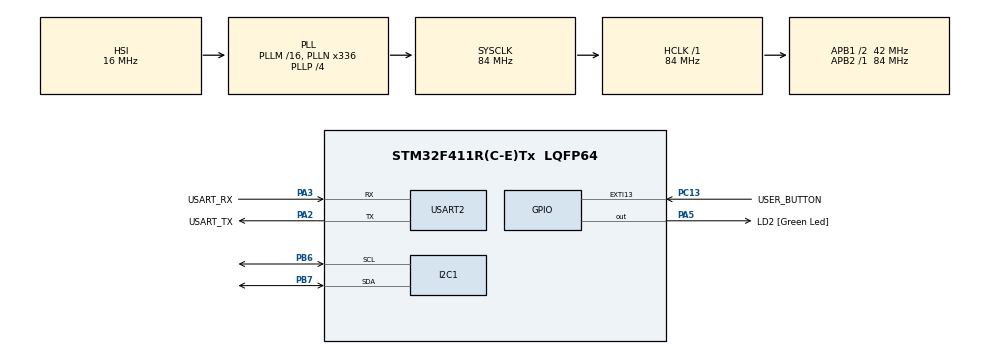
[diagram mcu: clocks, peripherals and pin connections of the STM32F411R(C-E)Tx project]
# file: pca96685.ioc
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I2C1.I2C_Mode=I2C_Fast
Mcu.Family=STM32F4
Mcu.Name=STM32F411R(C-E)Tx
Mcu.Package=LQFP64
NVIC.PriorityGroup=NVIC_PRIORITYGROUP_0
NVIC.TIM2_IRQn=true\:0\:0\:false\:false\:true\:true\:true\:true
PA13.GPIO_Label=TMS
PA13.Mode=Serial_Wire
PA13.Signal=SYS_JTMS-SWDIO
PA14.GPIO_Label=TCK
PA14.Mode=Serial_Wire
PA14.Signal=SYS_JTCK-SWCLK
PA2.GPIO_Label=USART_TX
PA2.Mode=Asynchronous
PA2.Signal=USART2_TX
PA3.GPIO_Label=USART_RX
PA3.Mode=Asynchronous
PA3.Signal=USART2_RX
PA5.GPIO_Label=LD2 [Green Led]
PA5.Signal=GPIO_Output
PB3.GPIO_Label=SWO
PB3.Signal=SYS_JTDO-SWO
PB6.Mode=I2C
PB6.Signal=I2C1_SCL
PB7.Mode=I2C
PB7.Signal=I2C1_SDA
PC13-ANTI_TAMP.GPIO_Label=USER_BUTTON
PC13-ANTI_TAMP.GPIO_ModeDefaultEXTI=GPIO_MODE_IT_FALLING
PC13-ANTI_TAMP.Signal=GPXTI13
PC14-OSC32_IN.Mode=LSE-External-Oscillator
PC14-OSC32_IN.Signal=RCC_OSC32_IN
PC15-OSC32_OUT.Mode=LSE-External-Oscillator
PC15-OSC32_OUT.Signal=RCC_OSC32_OUT
PH0\ -\ OSC_IN.Mode=HSE-External-Clock-Source
PH0\ -\ OSC_IN.Signal=RCC_OSC_IN
PH1\ -\ OSC_OUT.Mode=HSE-External-Clock-Source
PH1\ -\ OSC_OUT.Signal=RCC_OSC_OUT
ProjectManager.HeapSize=0x200
ProjectManager.StackSize=0x400
ProjectManager.TargetToolchain=STM32CubeIDE
RCC.48MHZClocksFreq_Value=84000000
RCC.AHBFreq_Value=84000000
RCC.APB1CLKDivider=RCC_HCLK_DIV2
RCC.APB1Freq_Value=42000000
RCC.APB1TimFreq_Value=84000000
RCC.APB2Freq_Value=84000000
RCC.APB2TimFreq_Value=84000000
RCC.CortexFreq_Value=84000000
RCC.FLatency-AdvancedSettings=FLASH_LATENCY_2
RCC.HCLKFreq_Value=84000000
RCC.HSE_VALUE=8000000
RCC.HSI_VALUE=16000000
RCC.PLLN=336
RCC.PLLP=RCC_PLLP_DIV4
RCC.SYSCLKFreq_VALUE=84000000
RCC.SYSCLKSource=RCC_SYSCLKSOURCE_PLLCLK
RCC.VCOOutputFreq_Value=336000000
TIM2.Period=999
TIM2.Prescaler=8399
USART2.VirtualMode=VM_ASYNC
VP_TIM2_VS_ClockSourceINT.Mode=Internal
board=NUCLEO-F411RE

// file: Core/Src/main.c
/* USER CODE BEGIN Header */
/**
  ******************************************************************************
  * @file           : main.c
  * @brief          : Main program body
  ******************************************************************************
  * @attention
  *
  * Copyright (c) 2024 STMicroelectronics.
  * All rights reserved.
  *
  * This software is licensed under terms that can be found in the LICENSE file
  * in the root directory of this software component.
  * If no LICENSE file comes with this software, it is provided AS-IS.
  *
  ******************************************************************************
  */
/* USER CODE END Header */
#include "main.h"

/* USER CODE BEGIN PD */
#define DEFAULT_ANGLE 90
/* USER CODE END PD */

I2C_HandleTypeDef hi2c1;

TIM_HandleTypeDef htim2;

UART_HandleTypeDef huart2;

/* USER CODE BEGIN PV */

uint8_t angle;
uint8_t angle_def;
uint8_t mode = 0;
uint32_t last_button_press = 0; // Zmienna przechowująca czas ostatniego naciśnięcia przycisku
uint8_t flag = 1; // flaga do jednorazowego odpalenia mode==2, bo nie chcialo mi sie do timera juz tego wkladac tylko do petli while dalem funkcje "czlapania"

/* USER CODE END PV */

void SystemClock_Config(void);
static void MX_GPIO_Init(void);
static void MX_USART2_UART_Init(void);
static void MX_I2C1_Init(void);
static void MX_TIM2_Init(void);

/* USER CODE BEGIN 0 */
#include "pca9685.h"
void HAL_TIM_PeriodElapsedCallback(TIM_HandleTypeDef *htim)
{
  if (htim == &htim2) {
	  if (mode==0) {
		  angle_def=0;
//		  Zakladam, ze na poczatku po uruchomieniu zasilania jest sytuacja dla mode=1 - czyli robot sobie lezy
		  if (angle<=45)
		  {
//		  PCA9685_SetServoAngle(0, DEFAULT_ANGLE);	// Serwa, ktorych puki co nie uzywamy (s0,s3,s6,s9)
		  PCA9685_SetServoAngle(3, DEFAULT_ANGLE);	// Bo skupiamy sie na sterowaniu nogami w 2D
		  PCA9685_SetServoAngle(6, DEFAULT_ANGLE);
//		  PCA9685_SetServoAngle(9, DEFAULT_ANGLE); 	// WYJATEK: przy bazowaniu s0 i s9 uzywam, zeby robot mniej miejsca zajmowal w pudelku
		  PCA9685_SetServoAngle(0, 0+angle*2);
		  PCA9685_SetServoAngle(9, 180-angle*2);
		  PCA9685_SetServoAngle(1, angle*2);
		  PCA9685_SetServoAngle(2, 67.5+angle*0.5);
		  if (angle<=30) {PCA9685_SetServoAngle(4, 120-angle);} // rozne wartosci przez niesymetrycznosc od strony sprzetu
		  if (angle<=37) {PCA9685_SetServoAngle(7, 53+angle);}	// po prostu serwa s4 i s7 troszeczke innych kątów wymagały do zrobienia tego samego

		  PCA9685_SetServoAngle(5, 157.5-angle*1.5);
		  PCA9685_SetServoAngle(8, 22.5+angle*1.5);

		  PCA9685_SetServoAngle(10, 180-angle*2);
		  PCA9685_SetServoAngle(11, 112.5-angle*0.5);
		  angle++;
		  }
	  }
	  if (mode==1)
	  {
		  angle=0; // zerowanie potrzebne po to, aby jeszcze raz ruch wykonac przy kolejnych przelaczaniach trybow
		  if (angle_def<=45){
			  PCA9685_SetServoAngle(0, DEFAULT_ANGLE-angle_def*2);
			  PCA9685_SetServoAngle(9, DEFAULT_ANGLE+angle_def*2);

			  PCA9685_SetServoAngle(1, DEFAULT_ANGLE-angle_def*2);			//end_angle=0
			  PCA9685_SetServoAngle(2, DEFAULT_ANGLE-angle_def*0.5);		//end_angle=67.5

			  if (angle_def<=30) {PCA9685_SetServoAngle(4, DEFAULT_ANGLE+angle_def);}	//end_angle=120
			  if (angle_def<=37) {PCA9685_SetServoAngle(7, DEFAULT_ANGLE-angle_def);}	//end_angle=53
			  PCA9685_SetServoAngle(5, DEFAULT_ANGLE+angle_def*1.5);		//end_angle=157,5
			  PCA9685_SetServoAngle(8, DEFAULT_ANGLE-angle_def*1.5);		//end_angle=22,5

			  PCA9685_SetServoAngle(10, DEFAULT_ANGLE+angle_def*2);			//end_angle=180
			  PCA9685_SetServoAngle(11, DEFAULT_ANGLE+angle_def*0.5);		//end_angle=112.5
			  angle_def++;
		  }
	}
  }
}
/* USER CODE END 0 */

int main(void)
{

  /* MCU Configuration--------------------------------------------------------*/

  /* Reset of all peripherals, Initializes the Flash interface and the Systick. */
  HAL_Init();

  /* Configure the system clock */
  SystemClock_Config();

  /* Initialize all configured peripherals */
  MX_GPIO_Init();
  MX_USART2_UART_Init();
  MX_I2C1_Init();
  MX_TIM2_Init();
  /* USER CODE BEGIN 2 */

void SystemClock_Config(void);
HAL_TIM_Base_Start_IT(&htim2);

/////////////////////////////////////////////////////////////////////////////////////////////////////////
//		(D).....................(A)
//		 |.......................|
//		(s11)...................(s2)
//		|.........................|
//		(s10)--(s9)______(s0)--(s1)
//			  |..............|
//			  |..............|
//			  |.....STM......|
//			  |..............|
//			  |.....PCA......|
//		(s7 )--(s6)______(s3)--(s4)
//		|.........................|
//		(s8)...................(s5)
//		 |.......................|
//		(C).....................(B)
////////////////////////////////////////////////////////////////////////////////////////////////////////

PCA9685_Init(&hi2c1);
//PCA9685_SetServoAngle(0, DEFAULT_ANGLE);	// Serwa, ktorych puki co nie uzywamy (s0,s3,s6,s9)
PCA9685_SetServoAngle(3, DEFAULT_ANGLE);	// Bo skupiamy sie na sterowaniu nogami w 2D
PCA9685_SetServoAngle(6, DEFAULT_ANGLE);	// Serwa tylnie s0 i s9 uzywam tylko do skladania robota
//PCA9685_SetServoAngle(9, DEFAULT_ANGLE);
  /* USER CODE END 2 */

  /* Infinite loop */
  /* USER CODE BEGIN WHILE */

  while (1)
  {
	  // Odczyt stanu przycisku - tutaj uzylem prostego sposobu na zminimalizowanie tzw. Debouncingu (drgań styków w przyciskach)
	  // 						  ale i tak czasem po 3 razy "mode" mi inkrementuje
	    if (HAL_GPIO_ReadPin(USER_BUTTON_GPIO_Port, USER_BUTTON_Pin) == GPIO_PIN_RESET)
	    {
	      // Sprawdzenie, czy przycisk był wcześniej wciśnięty i czy od ostatniego wciśnięcia minął czas debouncingu
	      if ((HAL_GetTick() - last_button_press >= 20) )
	      {
	        last_button_press = HAL_GetTick(); // Zaktualizuj czas ostatniego wcisniecia
	        mode++;

	        if (mode==2) {
				flag=1;// to na szybko flaga do ponownego korzystania z chodzenia w petli while, sredni sposob ale dziala xd
			}
	        if (mode > 2) {
				mode = 0;
			}
	      }
	    }
 /*
  * generalnie jak w timerach robilem, to do timera tez pasuje to dodac,
  * na szybko to robilem to jest jak jest, z reguly nie powinno sie dodawac do timerow
  * funkcji blokujacych typu HAL_DELAY i chyba petle for, ale to tez mozna obserwowac jak
  * sie uklad zachowuje
 */
	    if (mode==2 && flag) {
		PCA9685_SetServoAngle(0, DEFAULT_ANGLE);	// to pasuje dodac, zeby z pozycji lezacej nie kopal
		PCA9685_SetServoAngle(9, DEFAULT_ANGLE);
		for (uint8_t var = 0; var < 5; ++var) {
	    	for (uint8_t Angle = 90; Angle < 125; Angle++) {
	    		  if (Angle<=90+15) {
	    			  PCA9685_SetServoAngle(4, Angle);
	    		  }if (Angle<=90+34) {
	    			  PCA9685_SetServoAngle(5, Angle);
	    		  }
	    	}
	    	for (uint8_t Angle = 90; Angle > 55; Angle--) {
	    		  if (Angle>=90-24) {
	    			  PCA9685_SetServoAngle(10, Angle);
	    		  }if (Angle>=90-34) {
	    			  PCA9685_SetServoAngle(11, Angle);
	    		  }
	    	}
	    	HAL_Delay(100);

	    	for (uint8_t Angle = 125; Angle > 90; Angle--) {
	    		  if (Angle<=90+24) {
	    			  PCA9685_SetServoAngle(4, Angle);
	    		  }if (Angle<=90+34) {
	    			  PCA9685_SetServoAngle(5, Angle);
	    		  }
	    	}
	    	for (uint8_t Angle = 55; Angle < 90; Angle++) {
	    		  if (Angle>=90-24) {
	    			  PCA9685_SetServoAngle(10, Angle);
	    		  }if (Angle>=90-34) {
	    			  PCA9685_SetServoAngle(11, Angle);
	    		  }
	    	}
	    	HAL_Delay(100);

	    	for (uint8_t Angle = 90; Angle < 125; Angle++) {
	    		  if (Angle<=90+24) {
	    			  PCA9685_SetServoAngle(1, Angle);
	    		  }if (Angle<=90+34) {
	    			  PCA9685_SetServoAngle(2, Angle);
	    		  }
	    	}
	    	for (uint8_t Angle = 90; Angle > 55; Angle--) {
	    		  if (Angle>=90-15) {
	    			  PCA9685_SetServoAngle(7, Angle);
	    		  }if (Angle>=90-34) {
	    			  PCA9685_SetServoAngle(8, Angle);
	    		  }
	    	}
	    	HAL_Delay(100);

	    	for (uint8_t Angle = 125; Angle > 90; Angle--) {
	    		  if (Angle<=90+24) {
	    			  PCA9685_SetServoAngle(1, Angle);
	    		  }if (Angle<=90+34) {
	    			  PCA9685_SetServoAngle(2, Angle);
	    		  }
	    	}
	    	for (uint8_t Angle = 55; Angle < 90; Angle++) {
	    		  if (Angle>=90-24) {
	    			  PCA9685_SetServoAngle(7, Angle);
	    		  }if (Angle>=90-34) {
	    			  PCA9685_SetServoAngle(8, Angle);
	    		  }
	    	}
	    	HAL_Delay(100);

	    	}flag=0;
		}

    /* USER CODE END WHILE */

  }
}

void SystemClock_Config(void)
{
  RCC_OscInitTypeDef RCC_OscInitStruct = {0};
  RCC_ClkInitTypeDef RCC_ClkInitStruct = {0};

  /** Configure the main internal regulator output voltage
  */
  __HAL_RCC_PWR_CLK_ENABLE();
  __HAL_PWR_VOLTAGESCALING_CONFIG(PWR_REGULATOR_VOLTAGE_SCALE1);

  /** Initializes the RCC Oscillators according to the specified parameters
  * in the RCC_OscInitTypeDef structure.
  */
  RCC_OscInitStruct.OscillatorType = RCC_OSCILLATORTYPE_HSI;
  RCC_OscInitStruct.HSIState = RCC_HSI_ON;
  RCC_OscInitStruct.HSICalibrationValue = RCC_HSICALIBRATION_DEFAULT;
  RCC_OscInitStruct.PLL.PLLState = RCC_PLL_ON;
  RCC_OscInitStruct.PLL.PLLSource = RCC_PLLSOURCE_HSI;
  RCC_OscInitStruct.PLL.PLLM = 16;
  RCC_OscInitStruct.PLL.PLLN = 336;
  RCC_OscInitStruct.PLL.PLLP = RCC_PLLP_DIV4;
  RCC_OscInitStruct.PLL.PLLQ = 4;
  if (HAL_RCC_OscConfig(&RCC_OscInitStruct) != HAL_OK)
  {
    Error_Handler();
  }

  /** Initializes the CPU, AHB and APB buses clocks
  */
  RCC_ClkInitStruct.ClockType = RCC_CLOCKTYPE_HCLK|RCC_CLOCKTYPE_SYSCLK
                              |RCC_CLOCKTYPE_PCLK1|RCC_CLOCKTYPE_PCLK2;
  RCC_ClkInitStruct.SYSCLKSource = RCC_SYSCLKSOURCE_PLLCLK;
  RCC_ClkInitStruct.AHBCLKDivider = RCC_SYSCLK_DIV1;
  RCC_ClkInitStruct.APB1CLKDivider = RCC_HCLK_DIV2;
  RCC_ClkInitStruct.APB2CLKDivider = RCC_HCLK_DIV1;

  if (HAL_RCC_ClockConfig(&RCC_ClkInitStruct, FLASH_LATENCY_2) != HAL_OK)
  {
    Error_Handler();
  }
}

static void MX_I2C1_Init(void)
{

  hi2c1.Instance = I2C1;
  hi2c1.Init.ClockSpeed = 400000;
  hi2c1.Init.DutyCycle = I2C_DUTYCYCLE_2;
  hi2c1.Init.OwnAddress1 = 0;
  hi2c1.Init.AddressingMode = I2C_ADDRESSINGMODE_7BIT;
  hi2c1.Init.DualAddressMode = I2C_DUALADDRESS_DISABLE;
  hi2c1.Init.OwnAddress2 = 0;
  hi2c1.Init.GeneralCallMode = I2C_GENERALCALL_DISABLE;
  hi2c1.Init.NoStretchMode = I2C_NOSTRETCH_DISABLE;
  if (HAL_I2C_Init(&hi2c1) != HAL_OK)
  {
    Error_Handler();
  }

}

static void MX_TIM2_Init(void)
{

  TIM_ClockConfigTypeDef sClockSourceConfig = {0};
  TIM_MasterConfigTypeDef sMasterConfig = {0};

  htim2.Instance = TIM2;
  htim2.Init.Prescaler = 8399;
  htim2.Init.CounterMode = TIM_COUNTERMODE_UP;
  htim2.Init.Period = 999;
  htim2.Init.ClockDivision = TIM_CLOCKDIVISION_DIV1;
  htim2.Init.AutoReloadPreload = TIM_AUTORELOAD_PRELOAD_DISABLE;
  if (HAL_TIM_Base_Init(&htim2) != HAL_OK)
  {
    Error_Handler();
  }
  sClockSourceConfig.ClockSource = TIM_CLOCKSOURCE_INTERNAL;
  if (HAL_TIM_ConfigClockSource(&htim2, &sClockSourceConfig) != HAL_OK)
  {
    Error_Handler();
  }
  sMasterConfig.MasterOutputTrigger = TIM_TRGO_RESET;
  sMasterConfig.MasterSlaveMode = TIM_MASTERSLAVEMODE_DISABLE;
  if (HAL_TIMEx_MasterConfigSynchronization(&htim2, &sMasterConfig) != HAL_OK)
  {
    Error_Handler();
  }

}

static void MX_USART2_UART_Init(void)
{

  huart2.Instance = USART2;
  huart2.Init.BaudRate = 115200;
  huart2.Init.WordLength = UART_WORDLENGTH_8B;
  huart2.Init.StopBits = UART_STOPBITS_1;
  huart2.Init.Parity = UART_PARITY_NONE;
  huart2.Init.Mode = UART_MODE_TX_RX;
  huart2.Init.HwFlowCtl = UART_HWCONTROL_NONE;
  huart2.Init.OverSampling = UART_OVERSAMPLING_16;
  if (HAL_UART_Init(&huart2) != HAL_OK)
  {
    Error_Handler();
  }

}

static void MX_GPIO_Init(void)
{
  GPIO_InitTypeDef GPIO_InitStruct = {0};

  /* GPIO Ports Clock Enable */
  __HAL_RCC_GPIOC_CLK_ENABLE();
  __HAL_RCC_GPIOH_CLK_ENABLE();
  __HAL_RCC_GPIOA_CLK_ENABLE();
  __HAL_RCC_GPIOB_CLK_ENABLE();

  /*Configure GPIO pin Output Level */
  HAL_GPIO_WritePin(LD2_GPIO_Port, LD2_Pin, GPIO_PIN_RESET);

  /*Configure GPIO pin : USER_BUTTON_Pin */
  GPIO_InitStruct.Pin = USER_BUTTON_Pin;
  GPIO_InitStruct.Mode = GPIO_MODE_IT_FALLING;
  GPIO_InitStruct.Pull = GPIO_NOPULL;
  HAL_GPIO_Init(USER_BUTTON_GPIO_Port, &GPIO_InitStruct);

  /*Configure GPIO pin : LD2_Pin */
  GPIO_InitStruct.Pin = LD2_Pin;
  GPIO_InitStruct.Mode = GPIO_MODE_OUTPUT_PP;
  GPIO_InitStruct.Pull = GPIO_NOPULL;
  GPIO_InitStruct.Speed = GPIO_SPEED_FREQ_LOW;
  HAL_GPIO_Init(LD2_GPIO_Port, &GPIO_InitStruct);

}

void Error_Handler(void)
{
  __disable_irq();
  while (1)
  {
  }
}
